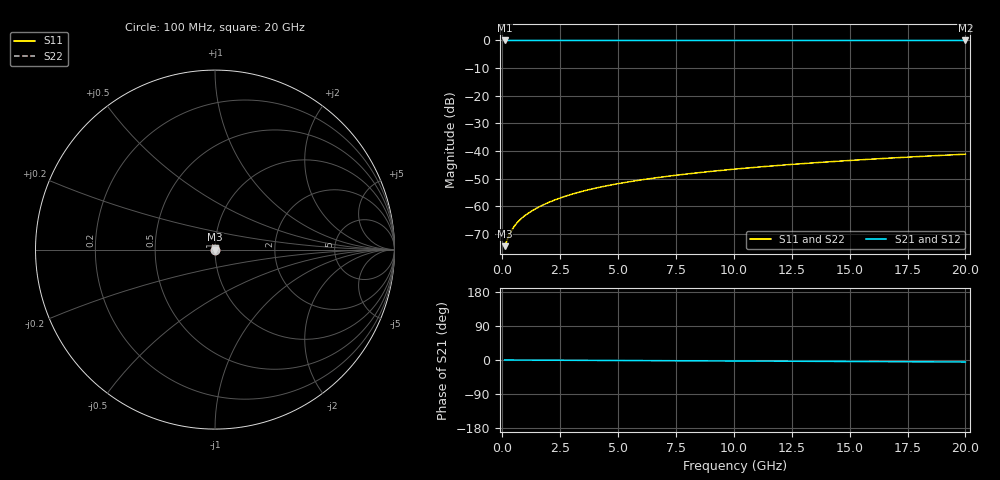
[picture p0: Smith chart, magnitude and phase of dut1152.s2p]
! Touchstone file exported from HFSS 2026.1.0
!  File:  C:/ffzhzh/LocalFiles/Ansys_Project_Files/temp_train_TSV_1152_1783191614_18472.aedt
!  Generated:  03:01:34 AM Jul  5, 2026
!  Design:  TSV
!  Project:  temp_train_TSV_1152_1783191614_18472
! Variables:
!  h_bsmrdl = 2um
!  h_ox = 20um
!  h_rdl = 5um
!  h_sub = 50.71um
!  h_tmrdl = 5um
!  h_tsv = 50.71um
!  h_via = 3um
!  l_bsmrdl = 300um
!  l_sub = 413.24um
!  l_tmrdl = 200um
!  m_sub = 200um
!  pitch = 29.73um
!  r_tsv = 6.62um
!  s_tmrdl = 10um
!  w_bsmrdl = 18um
!  w_sub = 500um
!  w_tmrdl = 12um
!  x_tsv_center1 = 206um
!  x_tsv_center2 = 524um
!  x_tsv_center3 = 736um
!  x_tsv_center4 = 1054um
!  x_tsv_center5 = 1266um
!  x_tsv_center6 = 1584um
# GHz S MA R 50.000000
! Terminal data exported
! Port[1] = TSV1_1_T1
! Port[2] = TSV1_1_T2
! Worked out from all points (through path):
!   200 points, 100 MHz to 20 GHz, reference 50 ohm
!   highest |S21| = 0.00 dB at 100 MHz (marker M1); lowest = 0.0 dB at 20 GHz (marker M2)
!   lowest |S11| = -74.5 dB at 100 MHz (marker M3), VSWR 1.00, Z = 50 + j0.00794 ohm
!   |S11| at or under -10 dB: start of sweep to end of sweep
!   |S22| runs from -74.5 to -41.2 dB; largest |S21 - S12| = 3.7e-15
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0.1  0.0001891 24.8  0.9998 -0.0  0.9998 -0.0  0.0001891 24.8
! Gamma 0 0 0 0
! Port Impedance 50 0 50 0
0.3  0.0003016 48.7  0.9998 -0.1  0.9998 -0.1  0.0003016 48.7
0.4  0.0003639 53.3  0.9998 -0.1  0.9998 -0.1  0.0003639 53.3
0.5  0.0004238 56.1  0.9998 -0.1  0.9998 -0.1  0.0004238 56.1
0.6  0.0004806 58.1  0.9997 -0.2  0.9997 -0.2  0.0004806 58.1
0.8  0.0005868 60.9  0.9997 -0.2  0.9997 -0.2  0.0005868 60.9
1.1  0.0007359 64.1  0.9997 -0.3  0.9997 -0.3  0.0007359 64.1
1.3  0.0008328 65.8  0.9997 -0.4  0.9997 -0.4  0.0008328 65.8
1.6  0.0009773 67.9  0.9996 -0.4  0.9996 -0.4  0.0009773 67.9
2.1  0.001218 70.3  0.9996 -0.6  0.9996 -0.6  0.001218 70.3
2.8  0.001553 72.4  0.9995 -0.7  0.9995 -0.7  0.001553 72.4
3.5  0.001881 73.6  0.9995 -0.9  0.9995 -0.9  0.001881 73.6
4.2  0.002202 74.3  0.9994 -1.1  0.9994 -1.1  0.002202 74.3
5  0.002559 74.9  0.9994 -1.3  0.9994 -1.3  0.002559 74.9
5.9  0.002952 75.4  0.9993 -1.6  0.9993 -1.6  0.002952 75.4
6.8  0.003338 75.8  0.9993 -1.8  0.9993 -1.8  0.003338 75.8
8.3  0.00397 76.3  0.9992 -2.2  0.9992 -2.2  0.00397 76.3
10.1  0.004719 76.7  0.9991 -2.6  0.9991 -2.6  0.004719 76.7
11.7  0.00538 76.9  0.9991 -3.1  0.9991 -3.1  0.00538 77.0
13.4  0.006077 77.1  0.999 -3.5  0.999 -3.5  0.006077 77.1
16.7  0.007417 77.0  0.9989 -4.4  0.9989 -4.4  0.007417 77.0
20  0.008733 76.7  0.9987 -5.2  0.9987 -5.2  0.008733 76.7
